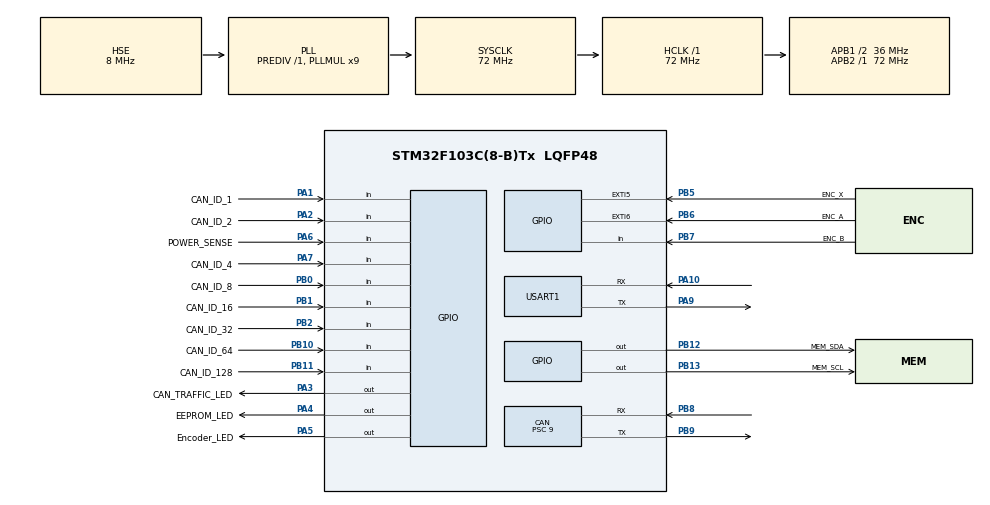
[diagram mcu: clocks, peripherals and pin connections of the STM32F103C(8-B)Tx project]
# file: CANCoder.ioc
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CAN.BS1=CAN_BS1_2TQ
CAN.CalculateTimeBit=1000
CAN.CalculateTimeQuantum=250.0
CAN.Prescaler=9
Mcu.Family=STM32F1
Mcu.Name=STM32F103C(8-B)Tx
Mcu.Package=LQFP48
NVIC.EXTI9_5_IRQn=true\:0\:0\:false\:false\:true\:true\:true
NVIC.PriorityGroup=NVIC_PRIORITYGROUP_4
PA1.GPIO_Label=CAN_ID_1
PA1.GPIO_PuPd=GPIO_PULLDOWN
PA1.Signal=GPIO_Input
PA10.Mode=Asynchronous
PA10.Signal=USART1_RX
PA13.Mode=Serial_Wire
PA13.Signal=SYS_JTMS-SWDIO
PA14.Mode=Serial_Wire
PA14.Signal=SYS_JTCK-SWCLK
PA2.GPIO_Label=CAN_ID_2
PA2.GPIO_PuPd=GPIO_PULLDOWN
PA2.Signal=GPIO_Input
PA3.GPIO_Label=CAN_TRAFFIC_LED
PA3.GPIO_Speed=GPIO_SPEED_FREQ_LOW
PA3.PinState=GPIO_PIN_RESET
PA3.Signal=GPIO_Output
PA4.GPIO_Label=EEPROM_LED
PA4.GPIO_Speed=GPIO_SPEED_FREQ_LOW
PA4.PinState=GPIO_PIN_RESET
PA4.Signal=GPIO_Output
PA5.GPIO_Label=Encoder_LED
PA5.GPIO_Speed=GPIO_SPEED_FREQ_LOW
PA5.PinState=GPIO_PIN_RESET
PA5.Signal=GPIO_Output
PA6.GPIO_Label=POWER_SENSE
PA6.Signal=GPIO_Input
PA7.GPIO_Label=CAN_ID_4
PA7.GPIO_PuPd=GPIO_PULLDOWN
PA7.Signal=GPIO_Input
PA9.Mode=Asynchronous
PA9.Signal=USART1_TX
PB0.GPIO_Label=CAN_ID_8
PB0.GPIO_PuPd=GPIO_PULLDOWN
PB0.Signal=GPIO_Input
PB1.GPIO_Label=CAN_ID_16
PB1.GPIO_PuPd=GPIO_PULLDOWN
PB1.Signal=GPIO_Input
PB10.GPIO_Label=CAN_ID_64
PB10.GPIO_PuPd=GPIO_PULLDOWN
PB10.Signal=GPIO_Input
PB11.GPIO_Label=CAN_ID_128
PB11.GPIO_PuPd=GPIO_PULLDOWN
PB11.Signal=GPIO_Input
PB12.GPIO_Label=MEM_SDA
PB12.GPIO_ModeDefaultOutputPP=GPIO_MODE_OUTPUT_OD
PB12.GPIO_PuPd=GPIO_PULLUP
PB12.GPIO_Speed=GPIO_SPEED_FREQ_HIGH
PB12.PinState=GPIO_PIN_SET
PB12.Signal=GPIO_Output
PB13.GPIO_Label=MEM_SCL
PB13.GPIO_ModeDefaultOutputPP=GPIO_MODE_OUTPUT_OD
PB13.GPIO_PuPd=GPIO_PULLUP
PB13.GPIO_Speed=GPIO_SPEED_FREQ_HIGH
PB13.PinState=GPIO_PIN_SET
PB13.Signal=GPIO_Output
PB2.GPIO_Label=CAN_ID_32
PB2.GPIO_PuPd=GPIO_PULLDOWN
PB2.Signal=GPIO_Input
PB5.GPIO_Label=ENC_X
PB5.GPIO_ModeDefaultEXTI=GPIO_MODE_IT_RISING
PB5.GPIO_PuPd=GPIO_PULLDOWN
PB5.Signal=GPXTI5
PB6.GPIO_Label=ENC_A
PB6.GPIO_ModeDefaultEXTI=GPIO_MODE_IT_RISING_FALLING
PB6.GPIO_PuPd=GPIO_PULLDOWN
PB6.Signal=GPXTI6
PB7.GPIO_Label=ENC_B
PB7.GPIO_PuPd=GPIO_PULLDOWN
PB7.Signal=GPIO_Input
PB8.Mode=Master
PB8.Signal=CAN_RX
PB9.Mode=Master
PB9.Signal=CAN_TX
PD0-OSC_IN.Mode=HSE-External-Oscillator
PD0-OSC_IN.Signal=RCC_OSC_IN
PD1-OSC_OUT.Mode=HSE-External-Oscillator
PD1-OSC_OUT.Signal=RCC_OSC_OUT
ProjectManager.HeapSize=0x200
ProjectManager.StackSize=0x400
ProjectManager.TargetToolchain=SW4STM32
RCC.AHBFreq_Value=72000000
RCC.APB1CLKDivider=RCC_HCLK_DIV2
RCC.APB1Freq_Value=36000000
RCC.APB1TimFreq_Value=72000000
RCC.APB2Freq_Value=72000000
RCC.APB2TimFreq_Value=72000000
RCC.HCLKFreq_Value=72000000
RCC.PLLMUL=RCC_PLL_MUL9
RCC.PLLSourceVirtual=RCC_PLLSOURCE_HSE
RCC.SYSCLKFreq_VALUE=72000000
RCC.SYSCLKSource=RCC_SYSCLKSOURCE_PLLCLK
RCC.USBFreq_Value=72000000
RTC.OutPut=RTC_OUTPUTSOURCE_ALARM
USART1.VirtualMode=VM_ASYNC
VP_RTC_VS_RTC_Activate.Mode=RTC_Enabled
board=custom

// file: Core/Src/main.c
/* USER CODE BEGIN Header */
/**
  ******************************************************************************
  * @file           : main.c
  * @brief          : Main program body
  ******************************************************************************
  * @attention
  *
  * <h2><center>&copy; Copyright (c) 2019 STMicroelectronics.
  * All rights reserved.</center></h2>
  *
  * This software component is licensed by ST under BSD 3-Clause license,
  * the "License"; You may not use this file except in compliance with the
  * License. You may obtain a copy of the License at:
  *                        opensource.org/licenses/BSD-3-Clause
  *
  ******************************************************************************
  */
/* USER CODE END Header */

#include "main.h"

/* USER CODE BEGIN Includes */
#include <string.h>
#include <stdio.h>

#include "CAN_api.h"
#include "types.h"
#include "encoder.h"
#include "eeprom.h"
#include "util.h"
/* USER CODE END Includes */

/* USER CODE BEGIN PM */

//#define DEBUG_CAN_MESSAGE
//#define NO_5V5
#define ENCODING 2
#pragma message("Using encoding: X" XSTR(ENCODING))

#define UART_PRINT_TIMEOUT 200 // ms
#define UART_BUFFER_SIZE 1024

//#define DEBUG_PRINTS
#ifdef DEBUG_PRINTS
#define DEBUG(message) debug(&huart1, message)
#else
#define DEBUG(message)
#endif
/* USER CODE END PM */

CAN_HandleTypeDef hcan;

RTC_HandleTypeDef hrtc;

UART_HandleTypeDef huart1;

/* USER CODE BEGIN PV */
uint32_t current_time_ms;
bool already_panicked;

uint32_t uart_size;
uint8_t uart_buffer[UART_BUFFER_SIZE] = {};
HAL_StatusTypeDef UART_status;

/* USER CODE END PV */

void SystemClock_Config(void);
static void MX_GPIO_Init(void);
static void MX_CAN_Init(void);
static void MX_USART1_UART_Init(void);
static void MX_RTC_Init(void);
/* USER CODE BEGIN PFP */
void panic();
void debug(UART_HandleTypeDef* huart, char* message);
/* USER CODE END PFP */

int main(void)
{

  /* MCU Configuration--------------------------------------------------------*/

  /* Reset of all peripherals, Initializes the Flash interface and the Systick. */
  HAL_Init();

  /* Configure the system clock */
  SystemClock_Config();

  /* Initialize all configured peripherals */
  MX_GPIO_Init();
  MX_CAN_Init();
  MX_USART1_UART_Init();
  MX_RTC_Init();
  /* USER CODE BEGIN 2 */

  // enable microsecond delays
  DWT_Init();

  // set already_panicked to false
  already_panicked = false;

  // start CAN
  CAN_status = HAL_CAN_Start(&hcan);
  if(CAN_status != HAL_OK) {
      // bad
      DEBUG("Could not start CAN transmission.");
  }

  // get CAN ID from jumpers
  CAN_id = 0b00000000;
  CAN_id += (HAL_GPIO_ReadPin(CAN_ID_1_GPIO_Port   ,   CAN_ID_1_Pin   ) << 0u);
  CAN_id += (HAL_GPIO_ReadPin(CAN_ID_2_GPIO_Port   ,   CAN_ID_2_Pin   ) << 1u);
  CAN_id += (HAL_GPIO_ReadPin(CAN_ID_4_GPIO_Port   ,   CAN_ID_4_Pin   ) << 2u);
  CAN_id += (HAL_GPIO_ReadPin(CAN_ID_8_GPIO_Port   ,   CAN_ID_8_Pin   ) << 3u);
  CAN_id += (HAL_GPIO_ReadPin(CAN_ID_16_GPIO_Port  ,   CAN_ID_16_Pin  ) << 4u);
  CAN_id += (HAL_GPIO_ReadPin(CAN_ID_32_GPIO_Port  ,   CAN_ID_32_Pin  ) << 5u);
  CAN_id += (HAL_GPIO_ReadPin(CAN_ID_64_GPIO_Port  ,   CAN_ID_64_Pin  ) << 6u);
  CAN_id += (HAL_GPIO_ReadPin(CAN_ID_128_GPIO_Port ,   CAN_ID_128_Pin ) << 7u);

  // transmit CAN ID for debug
  #ifdef DEBUG_PRINTS
  uart_size = sprintf((char*) uart_buffer, "CAN ID selected: %d \t", CAN_id);
  UART_status = HAL_UART_Transmit(&huart1, uart_buffer, uart_size, UART_PRINT_TIMEOUT);
  #endif

  // declare buffer for reading EEPROM values (4 bytes wide)
  const uint8_t eeprom_buffer_length = 4;
  uint8_t buffer[eeprom_buffer_length];
  memset(buffer, 0, eeprom_buffer_length);

  // disable interrupts while reading eeprom to ensure correct timing
  __disable_irq();

  // TODO(Ben): Does the byte order need to be reversed when reading from EEPROM?

  // read encoder ticks
  i2c_receive_continuous_bytes(ENCODER_TICKS_LOCATION, buffer, 4);
  memcpy_v(&encoder_count, buffer, 4);

  // read encoder polarity
  i2c_receive_byte(ENCODER_POLARITY_LOCATION, buffer);
  memcpy_v(&encoder_inverted, buffer, 1);

  // read encoder feedback period
  i2c_receive_continuous_bytes(FEEDBACK_PERIOD_LOCATION, buffer, 2);
//  memcpy_v(&CAN_outgoing_message_period_ms, buffer, 2);

  // reenable interrupts
  __enable_irq();

  #ifdef DEBUG_PRINTS
  uart_size = sprintf((char*) uart_buffer, "Starting up with %l ticks \t", encoder_count);
  UART_status = HAL_UART_Transmit(&huart1, uart_buffer, uart_size, UART_PRINT_TIMEOUT);
  #endif
  {
    GPIO_InitTypeDef initTypeDef;
    #if(ENCODING == 1)
        initTypeDef.Pin =  ENC_A_Pin;
        initTypeDef.Mode = GPIO_MODE_IT_RISING;
        initTypeDef.Pull = GPIO_PULLDOWN;
        HAL_GPIO_Init(ENC_A_GPIO_Port, &initTypeDef);

        initTypeDef.Pin =  ENC_B_Pin;
        initTypeDef.Mode = GPIO_MODE_INPUT;
        initTypeDef.Pull = GPIO_PULLDOWN;
        HAL_GPIO_Init(ENC_B_GPIO_Port, &initTypeDef);
    #elif(ENCODING == 2)
        initTypeDef.Pin = ENC_A_Pin;
        initTypeDef.Mode = GPIO_MODE_IT_RISING_FALLING;
        initTypeDef.Pull = GPIO_PULLDOWN;
        HAL_GPIO_Init(ENC_A_GPIO_Port, &initTypeDef);

        initTypeDef.Pin = ENC_B_Pin;
        initTypeDef.Mode = GPIO_MODE_INPUT;
        initTypeDef.Pull = GPIO_PULLDOWN;
        HAL_GPIO_Init(ENC_B_GPIO_Port, &initTypeDef);
    #elif(ENCODING == 4)
        initTypeDef.Pin =  ENC_A_Pin;
        initTypeDef.Mode = GPIO_MODE_IT_RISING_FALLING;
        initTypeDef.Pull = GPIO_PULLDOWN;
        HAL_GPIO_Init(ENC_A_GPIO_Port, &initTypeDef);

        initTypeDef.Pin =  ENC_B_Pin;
        initTypeDef.Mode = GPIO_MODE_IT_RISING_FALLING;
        initTypeDef.Pull = GPIO_PULLDOWN;
        HAL_GPIO_Init(ENC_B_GPIO_Port, &initTypeDef);
    #else
        #error
    #endif
  }
  /* USER CODE END 2 */

  /* Infinite loop */
  while (1)
  {

    /* USER CODE BEGIN 3 */

//    __disable_irq();
//    i2c_receive_continuous_bytes(ENCODER_TICKS_LOCATION, buffer, 4);
//    memcpy_v(&encoder_count, buffer, 4);
//    __enable_irq();

    // first, check if power is ok
    bool power_ok;
    #ifndef NO_5V5
        power_ok = HAL_GPIO_ReadPin(POWER_SENSE_GPIO_Port, POWER_SENSE_Pin);
    #else
        power_ok = true;
    #endif

    // if it's not ok, freak out and save ticks to EEPROM
    if(!power_ok) {
        // freak out if we haven't already
        if(!already_panicked) {
            // disable irq so we dont waste cpu cycles or mess up i2c timing
            __disable_irq();
            panic();
        }

        // set this to prevent panic running again
        already_panicked = true;

        // wait for impending doom
        continue;
    } else {
        // reenable irq
        __enable_irq();

        // set this here just in case we're on the brink of death but come back
        already_panicked = false;
    }

    // get current time
    current_time_ms = HAL_GetTick();

    // check if we have any CAN messages to read
    uint32_t can_frame_available = HAL_CAN_GetRxFifoFillLevel(&hcan, CAN_RX_FIFO0);
    if(can_frame_available > 0) {
      // initialize
      CAN_RxHeaderTypeDef hddr;
      uint8_t data[8];

      // get data from message
      CAN_status = HAL_CAN_GetRxMessage(&hcan, CAN_RX_FIFO0, &hddr, data);
      CAN_connected = true;

      // read messages
      if(CAN_status == HAL_OK && hddr.StdId == CAN_id) {
          // check if message is less than 2 bytes long because bad
          if(hddr.DLC < 1) {
//              HAL_GPIO_TogglePin(Encoder_LED_GPIO_Port, Encoder_LED_Pin);
              // not an error, but we won't do anything about it
          } else {
              // check for requests that we recognize
              switch (data[0]) {
                  // read first bit in the message as the request type
                  case REQUEST_RESET_TICKS:
                      // set ticks to 0
                      reset_encoder_count();

                      // transmit a message if in debug mode
                      #ifdef DEBUG_PRINTS
                      uart_size = sprintf((char *) uart_buffer, "Encoder ticks set to %l", encoder_count);
                      UART_status = HAL_UART_Transmit(&huart1, uart_buffer, uart_size, UART_PRINT_TIMEOUT);
                      #endif

                      break;
                  case REQUEST_SET_TICKS:
                      // check if CAN message is long enough to store the correct information
                      if(hddr.DLC < 5) {
                          // bad CAN frame, just leave the ticks the same and throw an error
                          // encoder_ticks = 0; // probably should'nt do this
                          // tell the user that they messed up
                          DEBUG("Bad CAN frame. Set ticks frame requires 5 bytes of data. Setting ticks to 0!");
                          break;
                      }
                      // read 32 bit signed int
                      memcpy_v(&encoder_count, &data[1], 4);
                      // transmit a message if in debug mode
                      #ifdef DEBUG_PRINTS
                      uart_size = sprintf((char*) uart_buffer, "Encoder ticks set to %l \r", encoder_count);
                      UART_status = HAL_UART_Transmit(&huart1, uart_buffer, uart_size, UART_PRINT_TIMEOUT);
                      #endif
                      break;
                  case REQUEST_SET_POLARITY:
                      if(hddr.DLC < 2) {
                          // bad frame
                          break;
                      }
                      // read 1 bit bool
                      memcpy_v(&encoder_inverted, &data[1], 1);

                      #ifdef DEBUG_PRINTS
                      uart_size = sprintf((char*) uart_buffer, "Encoder inverted set to %l \r", encoder_inverted);
                      UART_status = HAL_UART_Transmit(&huart1, uart_buffer, uart_size, UART_PRINT_TIMEOUT);
                      #endif

                      break;
                  case REQUEST_SET_FEEDBACK_PERIOD:
                      if(hddr.DLC < 3) {
                          // bad frame
                          break;
                      }
                      // read 16 bit unsigned integer
                      memcpy(&CAN_outgoing_message_period_ms, &data[1], 2);
                      break;
                  case REQUEST_NONE:
                  default:
                      // do nothing
                      break;
              }
          }
      }
    }

    // check if it's time to send a frame
    if(CAN_should_update(current_time_ms)) {
        Frame frame;

        // fill data in frame
        frame.type = FRAME_TYPE_TICKS;
        frame.error_type = ERROR_TYPE_NONE;
        frame.ticks = encoder_count;

        #ifdef DEBUG_CAN_MESSAGE
        frame.type = FRAME_TYPE_DEBUG;
        #endif

        bool can_send_success = send_CAN_update(&hcan, &frame, CAN_id);

        HAL_GPIO_WritePin(
          CAN_TRAFFIC_LED_GPIO_Port, CAN_TRAFFIC_LED_Pin,
          (can_send_success && CAN_connected)
        );
    }

  }
  /* USER CODE END 3 */
}

void SystemClock_Config(void)
{
  RCC_OscInitTypeDef RCC_OscInitStruct = {0};
  RCC_ClkInitTypeDef RCC_ClkInitStruct = {0};
  RCC_PeriphCLKInitTypeDef PeriphClkInit = {0};

  /** Initializes the CPU, AHB and APB busses clocks
  */
  RCC_OscInitStruct.OscillatorType = RCC_OSCILLATORTYPE_LSI|RCC_OSCILLATORTYPE_HSE;
  RCC_OscInitStruct.HSEState = RCC_HSE_ON;
  RCC_OscInitStruct.HSEPredivValue = RCC_HSE_PREDIV_DIV1;
  RCC_OscInitStruct.HSIState = RCC_HSI_ON;
  RCC_OscInitStruct.LSIState = RCC_LSI_ON;
  RCC_OscInitStruct.PLL.PLLState = RCC_PLL_ON;
  RCC_OscInitStruct.PLL.PLLSource = RCC_PLLSOURCE_HSE;
  RCC_OscInitStruct.PLL.PLLMUL = RCC_PLL_MUL9;
  if (HAL_RCC_OscConfig(&RCC_OscInitStruct) != HAL_OK)
  {
    Error_Handler();
  }
  /** Initializes the CPU, AHB and APB busses clocks
  */
  RCC_ClkInitStruct.ClockType = RCC_CLOCKTYPE_HCLK|RCC_CLOCKTYPE_SYSCLK
                              |RCC_CLOCKTYPE_PCLK1|RCC_CLOCKTYPE_PCLK2;
  RCC_ClkInitStruct.SYSCLKSource = RCC_SYSCLKSOURCE_PLLCLK;
  RCC_ClkInitStruct.AHBCLKDivider = RCC_SYSCLK_DIV1;
  RCC_ClkInitStruct.APB1CLKDivider = RCC_HCLK_DIV2;
  RCC_ClkInitStruct.APB2CLKDivider = RCC_HCLK_DIV1;

  if (HAL_RCC_ClockConfig(&RCC_ClkInitStruct, FLASH_LATENCY_2) != HAL_OK)
  {
    Error_Handler();
  }
  PeriphClkInit.PeriphClockSelection = RCC_PERIPHCLK_RTC;
  PeriphClkInit.RTCClockSelection = RCC_RTCCLKSOURCE_LSI;
  if (HAL_RCCEx_PeriphCLKConfig(&PeriphClkInit) != HAL_OK)
  {
    Error_Handler();
  }
}

static void MX_CAN_Init(void)
{

  hcan.Instance = CAN1;
  hcan.Init.Prescaler = 9;
  hcan.Init.Mode = CAN_MODE_NORMAL;
  hcan.Init.SyncJumpWidth = CAN_SJW_1TQ;
  hcan.Init.TimeSeg1 = CAN_BS1_2TQ;
  hcan.Init.TimeSeg2 = CAN_BS2_1TQ;
  hcan.Init.TimeTriggeredMode = DISABLE;
  hcan.Init.AutoBusOff = DISABLE;
  hcan.Init.AutoWakeUp = DISABLE;
  hcan.Init.AutoRetransmission = DISABLE;
  hcan.Init.ReceiveFifoLocked = DISABLE;
  hcan.Init.TransmitFifoPriority = DISABLE;
  if (HAL_CAN_Init(&hcan) != HAL_OK)
  {
    Error_Handler();
  }
  /* USER CODE BEGIN CAN_Init 2 */
  CAN_FilterTypeDef can_filter;

  can_filter.FilterFIFOAssignment = CAN_RX_FIFO0;
  can_filter.FilterMode = CAN_FILTERMODE_IDMASK;
  can_filter.FilterScale = CAN_FILTERSCALE_32BIT;
  can_filter.FilterIdHigh = 0x0000;
  can_filter.FilterIdLow = 0x0000;
  can_filter.FilterMaskIdHigh = 0x0000;
  can_filter.FilterMaskIdLow = 0x0000;
  can_filter.FilterBank = 0;
  can_filter.FilterActivation = CAN_FILTER_ENABLE;
  HAL_CAN_ConfigFilter(&hcan, &can_filter);
  /* USER CODE END CAN_Init 2 */

}

static void MX_RTC_Init(void)
{

  /** Initialize RTC Only
  */
  hrtc.Instance = RTC;
  hrtc.Init.AsynchPrediv = RTC_AUTO_1_SECOND;
  hrtc.Init.OutPut = RTC_OUTPUTSOURCE_ALARM;
  if (HAL_RTC_Init(&hrtc) != HAL_OK)
  {
    Error_Handler();
  }

}

static void MX_USART1_UART_Init(void)
{

  huart1.Instance = USART1;
  huart1.Init.BaudRate = 115200;
  huart1.Init.WordLength = UART_WORDLENGTH_8B;
  huart1.Init.StopBits = UART_STOPBITS_1;
  huart1.Init.Parity = UART_PARITY_NONE;
  huart1.Init.Mode = UART_MODE_TX_RX;
  huart1.Init.HwFlowCtl = UART_HWCONTROL_NONE;
  huart1.Init.OverSampling = UART_OVERSAMPLING_16;
  if (HAL_UART_Init(&huart1) != HAL_OK)
  {
    Error_Handler();
  }

}

static void MX_GPIO_Init(void)
{
  GPIO_InitTypeDef GPIO_InitStruct = {0};

  /* GPIO Ports Clock Enable */
  __HAL_RCC_GPIOD_CLK_ENABLE();
  __HAL_RCC_GPIOA_CLK_ENABLE();
  __HAL_RCC_GPIOB_CLK_ENABLE();

  /*Configure GPIO pin Output Level */
  HAL_GPIO_WritePin(GPIOA, CAN_TRAFFIC_LED_Pin|EEPROM_LED_Pin|Encoder_LED_Pin, GPIO_PIN_RESET);

  /*Configure GPIO pin Output Level */
  HAL_GPIO_WritePin(GPIOB, MEM_SDA_Pin|MEM_SCL_Pin, GPIO_PIN_SET);

  /*Configure GPIO pins : CAN_ID_1_Pin CAN_ID_2_Pin CAN_ID_4_Pin */
  GPIO_InitStruct.Pin = CAN_ID_1_Pin|CAN_ID_2_Pin|CAN_ID_4_Pin;
  GPIO_InitStruct.Mode = GPIO_MODE_INPUT;
  GPIO_InitStruct.Pull = GPIO_PULLDOWN;
  HAL_GPIO_Init(GPIOA, &GPIO_InitStruct);

  /*Configure GPIO pins : CAN_TRAFFIC_LED_Pin EEPROM_LED_Pin Encoder_LED_Pin */
  GPIO_InitStruct.Pin = CAN_TRAFFIC_LED_Pin|EEPROM_LED_Pin|Encoder_LED_Pin;
  GPIO_InitStruct.Mode = GPIO_MODE_OUTPUT_PP;
  GPIO_InitStruct.Pull = GPIO_NOPULL;
  GPIO_InitStruct.Speed = GPIO_SPEED_FREQ_LOW;
  HAL_GPIO_Init(GPIOA, &GPIO_InitStruct);

  /*Configure GPIO pin : POWER_SENSE_Pin */
  GPIO_InitStruct.Pin = POWER_SENSE_Pin;
  GPIO_InitStruct.Mode = GPIO_MODE_INPUT;
  GPIO_InitStruct.Pull = GPIO_NOPULL;
  HAL_GPIO_Init(POWER_SENSE_GPIO_Port, &GPIO_InitStruct);

  /*Configure GPIO pins : CAN_ID_8_Pin CAN_ID_16_Pin CAN_ID_32_Pin CAN_ID_64_Pin
                           CAN_ID_128_Pin ENC_B_Pin */
  GPIO_InitStruct.Pin = CAN_ID_8_Pin|CAN_ID_16_Pin|CAN_ID_32_Pin|CAN_ID_64_Pin
                          |CAN_ID_128_Pin|ENC_B_Pin;
  GPIO_InitStruct.Mode = GPIO_MODE_INPUT;
  GPIO_InitStruct.Pull = GPIO_PULLDOWN;
  HAL_GPIO_Init(GPIOB, &GPIO_InitStruct);

  /*Configure GPIO pins : MEM_SDA_Pin MEM_SCL_Pin */
  GPIO_InitStruct.Pin = MEM_SDA_Pin|MEM_SCL_Pin;
  GPIO_InitStruct.Mode = GPIO_MODE_OUTPUT_OD;
  GPIO_InitStruct.Pull = GPIO_PULLUP;
  GPIO_InitStruct.Speed = GPIO_SPEED_FREQ_HIGH;
  HAL_GPIO_Init(GPIOB, &GPIO_InitStruct);

  /*Configure GPIO pin : ENC_X_Pin */
  GPIO_InitStruct.Pin = ENC_X_Pin;
  GPIO_InitStruct.Mode = GPIO_MODE_IT_RISING;
  GPIO_InitStruct.Pull = GPIO_PULLDOWN;
  HAL_GPIO_Init(ENC_X_GPIO_Port, &GPIO_InitStruct);

  /*Configure GPIO pin : ENC_A_Pin */
  GPIO_InitStruct.Pin = ENC_A_Pin;
  GPIO_InitStruct.Mode = GPIO_MODE_IT_RISING_FALLING;
  GPIO_InitStruct.Pull = GPIO_PULLDOWN;
  HAL_GPIO_Init(ENC_A_GPIO_Port, &GPIO_InitStruct);

  /* EXTI interrupt init*/
  HAL_NVIC_SetPriority(EXTI9_5_IRQn, 0, 0);
  HAL_NVIC_EnableIRQ(EXTI9_5_IRQn);

}

/* USER CODE BEGIN 4 */

// Called when power to the module drops. Save settings and encoder ticks
void panic() {
    // turn off leds
    HAL_GPIO_WritePin(CAN_TRAFFIC_LED_GPIO_Port, CAN_TRAFFIC_LED_Pin, GPIO_PIN_RESET );
    HAL_GPIO_WritePin(Encoder_LED_GPIO_Port    , Encoder_LED_Pin    , GPIO_PIN_RESET );
    HAL_GPIO_WritePin(EEPROM_LED_GPIO_Port     , EEPROM_LED_Pin     , GPIO_PIN_RESET );

    // save stuff to EEPROM
    uint8_t buffer[4];
    memset(buffer, 0, 4);
    memcpy_v(buffer, &encoder_count, 4);
    i2c_send_continuous_bytes(ENCODER_TICKS_LOCATION, buffer, 4);

    memset(buffer, 0, 4);
    memcpy_v(buffer, &encoder_inverted, 2);
    i2c_send_continuous_bytes(ENCODER_POLARITY_LOCATION, buffer, 2);

    i2c_send_byte(FEEDBACK_PERIOD_LOCATION, encoder_inverted);
}

void debug(UART_HandleTypeDef* huart, char* message) {
    char c;
    uint16_t len = 0;
    while(c != '\r') {
        c = message[len++];
    }
    HAL_UART_Transmit(huart, (uint8_t*)message, len, UART_PRINT_TIMEOUT);
    char newline[] = {'\n'};
    HAL_UART_Transmit(huart, newline, 1, UART_PRINT_TIMEOUT);
}

void HAL_GPIO_EXTI_Callback(uint16_t GPIO_Pin) {
  if(GPIO_Pin == ENC_A_Pin || GPIO_Pin == ENC_B_Pin) {
      bool a_high = HAL_GPIO_ReadPin(ENC_A_GPIO_Port, ENC_A_Pin);
      bool b_high = HAL_GPIO_ReadPin(ENC_B_GPIO_Port, ENC_B_Pin);
      increment_encoder_from_GPIO(a_high, b_high);
      HAL_GPIO_TogglePin(Encoder_LED_GPIO_Port, Encoder_LED_Pin);
  } else if (GPIO_Pin == ENC_X_Pin) {
    // figure out what this does and why we need it
  }
}

/* USER CODE END 4 */

void Error_Handler(void)
{
  /* USER CODE BEGIN Error_Handler_Debug */
  /* User can add his own implementation to report the HAL error return state */

  // this very bad

  /* USER CODE END Error_Handler_Debug */
}

/************************ (C) COPYRIGHT STMicroelectronics *****END OF FILE****/
